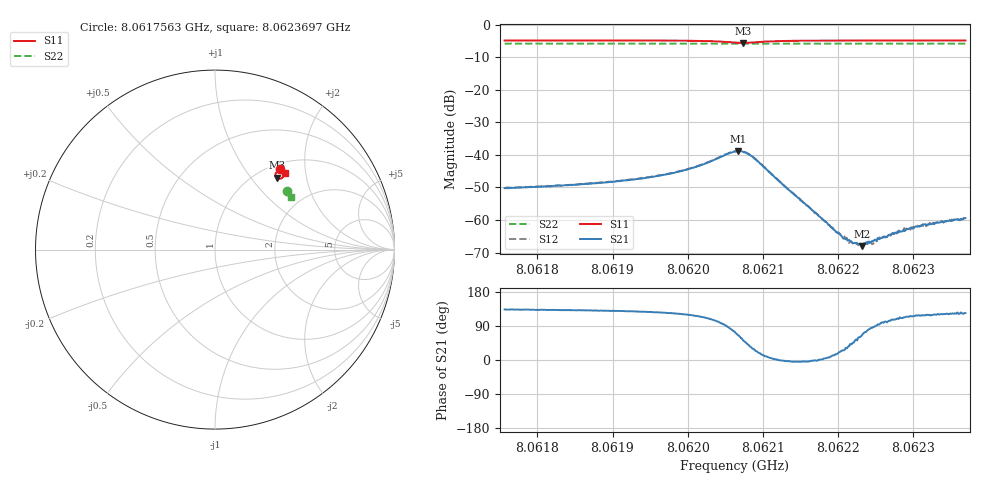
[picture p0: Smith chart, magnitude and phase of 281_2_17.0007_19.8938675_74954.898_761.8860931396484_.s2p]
#  HZ  S  RI  R  50.00
! Rohde & Schwarz Vector Network Analyzer
! Rohde-Schwarz,ZNB20-2Port,1311601062101988,3.16
! Created: UTC 3/20/2024, 11:04:42 PM
! freq[Hz]  re:S11  im:S11  re:S21  im:S21  re:S12  im:S12  re:S22  im:S22
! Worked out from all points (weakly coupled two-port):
!   401 points, 8.0617563 GHz to 8.0623697 GHz, reference 50 ohm
!   highest |S21| = -38.80 dB at 8.0620676 GHz (marker M1); lowest = -68.0 dB at 8.0622317 GHz (marker M2)
!   lowest |S11| = -5.6 dB at 8.0620737 GHz (marker M3), VSWR 3.23, Z = 61.1 + j67.8 ohm
!   |S11| at or under -10 dB: nowhere
!   |S22| runs from -5.8 to -5.8 dB; largest |S21 - S12| = 0.00091
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8.0617563e9  0.3614 0.4483  -0.00213 0.00224  -0.00198 0.0024  0.401 0.324
8.06185905e9  0.3687 0.442  -0.00233 0.00266  -0.0022 0.00282  0.4048 0.3188
8.06192345e9  0.3738 0.4368  -0.00258 0.00324  -0.00241 0.00342  0.4074 0.3155
8.06196179e9  0.3772 0.4323  -0.00279 0.0039  -0.00258 0.00413  0.4088 0.3134
8.06200933e9  0.3814 0.422  -0.00291 0.00578  -0.00258 0.00601  0.4105 0.3104
8.062063e9  0.3596 0.3943  0.00316 0.0108  0.00407 0.0107  0.411 0.307
8.0620676e9  0.3527 0.3953  0.00484 0.0104  0.00555 0.0101  0.4108 0.3069
8.06207373e9  0.3441 0.4  0.00686 0.00885  0.00737 0.00853  0.4107 0.3071
8.06208907e9  0.3371 0.4208  0.00783 0.00399  0.00824 0.00345  0.4112 0.3073
8.06216574e9  0.3678 0.4384  0.00142 -3.87e-05  0.00144 -0.000149  0.4155 0.3041
8.06219641e9  0.3728 0.4363  0.00066 0.000176  0.000645 0.000141  0.4167 0.3023
8.06220715e9  0.3743 0.4356  0.000467 0.000225  0.000522 0.000217  0.4171 0.3018
8.06221635e9  0.3753 0.4351  0.000348 0.000317  0.000385 0.000279  0.4174 0.3014
8.06222401e9  0.3763 0.4345  0.000255 0.000355  0.000253 0.000331  0.4178 0.3009
8.06223168e9  0.377 0.434  0.000172 0.000357  0.000236 0.000377  0.4181 0.3007
8.06224855e9  0.3787 0.433  1.9e-05 0.000493  4.19e-05 0.00045  0.4186 0.2998
8.06225622e9  0.3795 0.4325  -5.13e-05 0.000514  -3.47e-05 0.000558  0.4189 0.2991
8.06226849e9  0.3806 0.4317  -0.000143 0.000577  -0.000104 0.000593  0.4194 0.2985
8.06228842e9  0.3823 0.4305  -0.000261 0.000619  -0.000255 0.000705  0.42 0.2977
8.06229455e9  0.3827 0.4302  -0.000301 0.00067  -0.000243 0.000665  0.4203 0.2971
8.06232369e9  0.3851 0.4284  -0.000401 0.000773  -0.000392 0.000845  0.4214 0.2957
8.0623697e9  0.3881 0.4259  -0.000594 0.000888  -0.000545 0.000893  0.4231 0.2933
